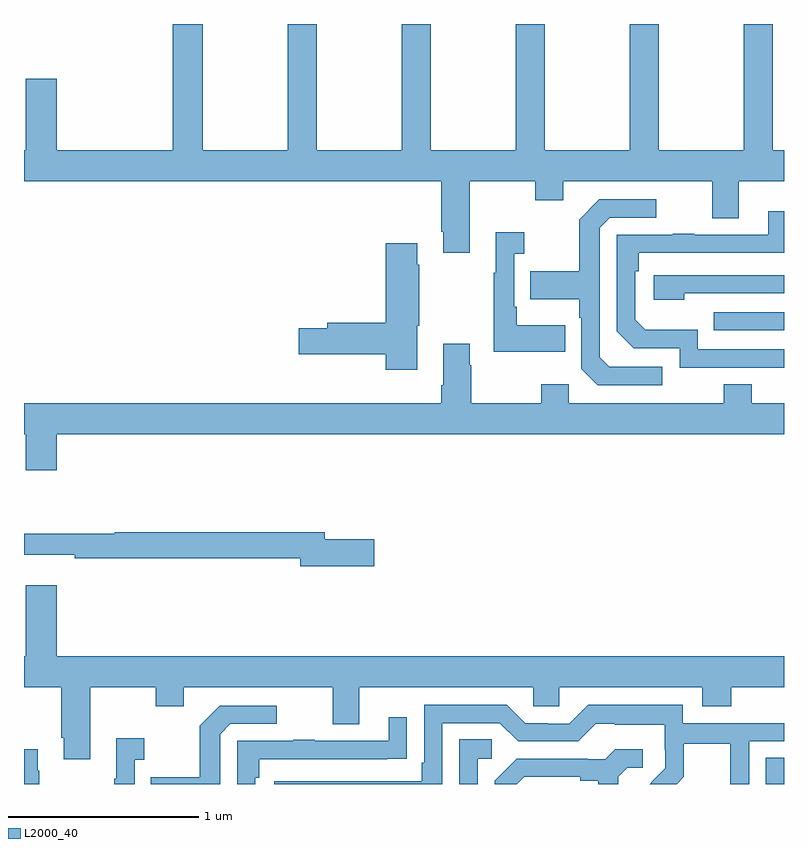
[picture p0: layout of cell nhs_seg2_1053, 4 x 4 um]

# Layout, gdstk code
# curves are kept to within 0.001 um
import gdstk
lib = gdstk.Library(unit=1e-6, precision=1e-09)
def R(c, l, rs):  # rectangles x0, y0, x1, y1
    for r in rs: c.add(gdstk.rectangle(r[:2], r[2:], *l))
def P(c, l, *ps):  # polygons
    for p in ps: c.add(gdstk.Polygon(p, *l))
L2000_40 = (2000, 40)

nhs_seg2_1053 = lib.new_cell('nhs_seg2_1053')
R(nhs_seg2_1053, L2000_40, [(168.905,641.8,169,641.939), (168.631,644.187,169,644.283)])
P(nhs_seg2_1053, L2000_40, [(167.347,644.972),(167.692,644.972),(167.692,644.873),(167.839,644.873),(167.839,644.972),(168.623,644.972),(168.623,644.778),(168.763,644.778),(168.763,644.972),(169,644.972),(169,645.136),(168.942,645.136),(168.942,645.8),(168.787,645.8),(168.787,645.136),(168.342,645.136),(168.342,645.8),(168.187,645.8),(168.187,645.136),(167.742,645.136),(167.742,645.8),(167.587,645.8),(167.587,645.136),(167.142,645.136),(167.142,645.8),(166.987,645.8),(166.987,645.136),(166.542,645.136),(166.542,645.8),(166.387,645.8),(166.387,645.136),(165.942,645.136),(165.942,645.8),(165.782,645.8),(165.782,645.136),(165.172,645.136),(165.172,645.511),(165.008,645.511),(165.008,645.136),(165,645.136),(165,644.972),(167.195,644.972),(167.195,644.707),(167.207,644.707),(167.207,644.595),(167.347,644.595)],
  [(168.358,643.995),(168.081,643.995),(168.03,644.046),(168.03,644.727),(168.084,644.781),(168.328,644.781),(168.328,644.877),(168.027,644.877),(167.922,644.771),(167.922,644.499),(167.665,644.499),(167.665,644.351),(167.922,644.351),(167.922,644.255),(167.934,644.255),(167.934,643.986),(168.021,643.899),(168.358,643.899)],
  [(169,644.088),(168.546,644.088),(168.546,644.191),(168.269,644.191),(168.216,644.244),(168.216,644.498),(168.236,644.498),(168.236,644.595),(169,644.596),(169,644.815),(168.917,644.815),(168.917,644.691),(168.527,644.691),(168.527,644.696),(168.415,644.696),(168.415,644.691),(168.12,644.691),(168.12,644.184),(168.21,644.094),(168.45,644.094),(168.45,643.992),(169,643.992)],
  [(167.849,644.215),(167.593,644.215),(167.593,644.311),(167.58,644.311),(167.58,644.591),(167.632,644.591),(167.632,644.704),(167.483,644.704),(167.483,644.491),(167.472,644.491),(167.472,644.075),(167.849,644.075)],
  [(167.071,644.211),(167.079,644.211),(167.079,644.534),(167.071,644.534),(167.071,644.647),(166.904,644.647),(166.904,644.228),(166.595,644.228),(166.595,644.198),(166.446,644.198),(166.446,644.063),(166.904,644.063),(166.904,643.98),(167.071,643.98)],
  [(168.476,644.382),(169,644.382),(169,644.478),(168.315,644.478),(168.315,644.348),(168.476,644.348)],
  [(165,643.64),(165.008,643.64),(165.008,643.452),(165.172,643.452),(165.172,643.64),(169,643.64),(169,643.804),(168.829,643.804),(168.829,643.903),(168.682,643.903),(168.682,643.804),(167.868,643.804),(167.868,643.903),(167.722,643.903),(167.722,643.804),(167.355,643.804),(167.355,644.003),(167.347,644.003),(167.347,644.116),(167.207,644.116),(167.207,643.9),(167.195,643.9),(167.195,643.804),(165,643.804)],
  [(166.843,643.088),(166.582,643.088),(166.582,643.124),(165.478,643.124),(165.478,643.117),(165,643.117),(165,643.007),(165.268,643.007),(165.268,642.988),(166.454,642.988),(166.454,642.946),(166.843,642.946)],
  [(165.349,642.308),(165.694,642.308),(165.694,642.209),(165.841,642.209),(165.841,642.308),(166.625,642.308),(166.625,642.114),(166.765,642.114),(166.765,642.308),(167.679,642.308),(167.679,642.21),(167.817,642.21),(167.817,642.308),(168.569,642.308),(168.569,642.209),(168.722,642.209),(168.722,642.308),(169,642.308),(169,642.472),(165.172,642.472),(165.172,642.847),(165.008,642.847),(165.008,642.472),(165,642.472),(165,642.308),(165.197,642.308),(165.197,642.043),(165.209,642.043),(165.209,641.931),(165.349,641.931)],
  [(167.202,642.12),(167.505,642.12),(167.601,642.024),(167.916,642.024),(168.009,642.117),(168.109,642.117),(168.109,642.113),(168.372,642.113),(168.372,641.979),(168.374,641.979),(168.374,641.882),(168.3,641.808),(168.301,641.807),(168.294,641.8),(168.436,641.8),(168.473,641.837),(168.473,642.012),(168.718,642.012),(168.718,641.8),(168.816,641.8),(168.816,642.024),(169,642.024),(169,642.12),(168.468,642.12),(168.468,642.217),(167.971,642.217),(167.871,642.117),(167.756,642.117),(167.756,642.12),(167.637,642.12),(167.541,642.216),(167.106,642.216),(167.106,641.911),(167.093,641.911),(167.093,641.814),(166.317,641.814),(166.317,641.8),(167.202,641.8)],
  [(166.032,642.063),(166.086,642.117),(166.33,642.117),(166.33,642.213),(166.029,642.213),(165.924,642.107),(165.924,641.835),(165.667,641.835),(165.667,641.8),(166.032,641.8)],
  [(166.218,641.834),(166.238,641.834),(166.238,641.931),(166.913,641.931),(166.913,641.932),(167.015,641.932),(167.015,642.151),(166.919,642.151),(166.919,642.027),(166.529,642.027),(166.529,642.032),(166.417,642.032),(166.417,642.027),(166.122,642.027),(166.122,641.8),(166.218,641.8)],
  [(165.582,641.927),(165.634,641.927),(165.634,642.04),(165.485,642.04),(165.485,641.827),(165.474,641.827),(165.474,641.8),(165.582,641.8)],
  [(167.388,641.934),(167.461,641.934),(167.461,642.035),(167.292,642.035),(167.292,641.8),(167.388,641.8)],
  [(165.081,641.87),(165.073,641.87),(165.073,641.983),(165,641.983),(165,641.8),(165.081,641.8)],
  [(167.632,641.838),(167.927,641.838),(167.927,641.816),(168.023,641.816),(168.023,641.8),(168.127,641.8),(168.127,641.839),(168.174,641.886),(168.256,641.886),(168.256,641.983),(168.112,641.983),(168.06,641.931),(167.966,641.931),(167.966,641.934),(167.594,641.934),(167.478,641.818),(167.478,641.8),(167.594,641.8)])

lib.write_gds('nhs_seg2_1053.gds')
